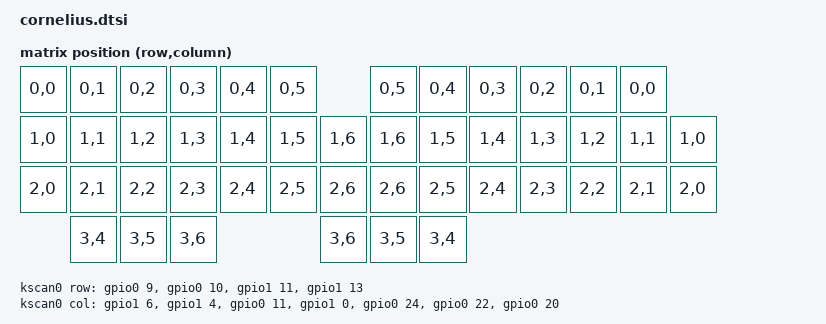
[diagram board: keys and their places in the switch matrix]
/*
 * Copyright (c) 2020 The ZMK Contributors
 *
 * SPDX-License-Identifier: MIT
 */

#include <dt-bindings/zmk/matrix_transform.h>

/*
PIN MAPPING EXPLANATION:
The nice!nano uses an nRF52840 with two GPIO ports: P0 and P1.
- P0.XX pins: Use the number directly (e.g., 9 for P0.09)
- P1.XX pins: Use 32 + the port number (e.g., 32 + 11 = 43 for P1.11)

Your pin assignments:
Rows:    P0.09(9), P0.10(10), P1.11(43), P1.13(45)
Columns: P1.06(38), P1.04(36), P0.11(11), P1.00(32), P0.24(24), P0.22(22), P0.20(20)
*/

/ {
	chosen {
		zmk,kscan = &kscan0;
		zmk,matrix_transform = &default_transform;
		zmk,split = &split;
	};

	split: split {
		compatible = "zmk,split-bt";
		label = "SPLIT";
	};

	default_transform: keymap_transform_0 {
		compatible = "zmk,matrix-transform";
		columns = <7>;
		rows = <4>;
		map = <
/* ╔════════════════════════╦════════════════════════╗
   ║ LEFT SIDE              ║ RIGHT SIDE             ║
   ║ Row 0 (top):           ║ Row 0 (top):           ║
   ║ 0   1   2   3   4   5  ║ 35  36  37  38  39  40 ║
   ║                        ║                        ║
   ║ Row 1 (home):          ║ Row 1 (home):          ║
   ║ 6   7   8   9   10  11 12║ 13  14  15  16  17  18 19║
   ║                        ║                        ║
   ║ Row 2 (bottom):        ║ Row 2 (bottom):        ║
   ║ 20  21  22  23  24  25 26║ 27  28  29  30  31  32 33║
   ║                        ║                        ║
   ║ Row 3 (thumb):         ║ Row 3 (thumb):         ║
   ║         10  11  12     ║ 13  14  15             ║
   ╚════════════════════════╩════════════════════════╝

   EXPLANATION OF KEYCODES:
   - Left side keys 0-34 (but we only use up to 26 as the aux column is at position 12)
   - Right side keys 35-52 (mirrored layout)
   
   Note: Row 3 (thumbs) uses keys from rows 1 and 2 positions (10, 11, 12 on left / 13, 14, 15 on right)
   This is called "matrix reuse" - the same physical keys serve double-duty in the transform
*/

/* Physical Layout (what you see):
   LEFT HALF:
   Row 0:  C1  C2  C3  C4  C5  C6
   Row 1:  C1  C2  C3  C4  C5  C6  AUX
   Row 2:  C1  C2  C3  C4  C5  C6  AUX
   Row 3:          C5  C6  AUX
   
   RIGHT HALF:
   Row 0:  C1  C2  C3  C4  C5  C6
   Row 1:  AUX C6  C5  C4  C3  C2  C1
   Row 2:  AUX C6  C5  C4  C3  C2  C1
   Row 3:  AUX C6  C5
*/

			RC(0,0) RC(0,1) RC(0,2) RC(0,3) RC(0,4) RC(0,5)                 RC(0,5) RC(0,4) RC(0,3) RC(0,2) RC(0,1) RC(0,0)
			RC(1,0) RC(1,1) RC(1,2) RC(1,3) RC(1,4) RC(1,5) RC(1,6)     RC(1,6) RC(1,5) RC(1,4) RC(1,3) RC(1,2) RC(1,1) RC(1,0)
			RC(2,0) RC(2,1) RC(2,2) RC(2,3) RC(2,4) RC(2,5) RC(2,6)     RC(2,6) RC(2,5) RC(2,4) RC(2,3) RC(2,2) RC(2,1) RC(2,0)
					RC(3,4) RC(3,5) RC(3,6)                 RC(3,6) RC(3,5) RC(3,4)
		>;
	};

	kscan0: kscan {
		compatible = "zmk,kscan-gpio-matrix";
		label = "KSCAN";
		/* 
		WHAT THIS DOES:
		- Defines how ZMK scans the keyboard matrix (which pins are rows/cols)
		- GPIO matrix scanning: outputs to row pins, reads from column pins
		- debounce-press/release: filtering for key bouncing (in milliseconds)
		- debounce-type: "eager" = respond immediately to key press
		*/

		diode-direction = "col2row";
		/* 
		DIODE EXPLANATION:
		- "col2row" means your matrix has diodes pointing FROM rows TO columns
		- This is the standard configuration for preventing ghosting
		- The diode blocks reverse current, ensuring accurate multi-key detection
		*/

		row-gpios
			= <&gpio0 9 (GPIO_ACTIVE_HIGH | GPIO_PULL_DOWN)>   /* P0.09 - top row */
			, <&gpio0 10 (GPIO_ACTIVE_HIGH | GPIO_PULL_DOWN)>  /* P0.10 - home row */
			, <&gpio1 11 (GPIO_ACTIVE_HIGH | GPIO_PULL_DOWN)>  /* P1.11 - bottom row */
			, <&gpio1 13 (GPIO_ACTIVE_HIGH | GPIO_PULL_DOWN)>  /* P1.13 - thumb row */
			;

		col-gpios
			= <&gpio1 6 (GPIO_ACTIVE_HIGH | GPIO_PULL_DOWN)>   /* P1.06 - outer column */
			, <&gpio1 4 (GPIO_ACTIVE_HIGH | GPIO_PULL_DOWN)>   /* P1.04 - pinkie column */
			, <&gpio0 11 (GPIO_ACTIVE_HIGH | GPIO_PULL_DOWN)>  /* P0.11 - ring column */
			, <&gpio1 0 (GPIO_ACTIVE_HIGH | GPIO_PULL_DOWN)>   /* P1.00 - middle column */
			, <&gpio0 24 (GPIO_ACTIVE_HIGH | GPIO_PULL_DOWN)>  /* P0.24 - index column */
			, <&gpio0 22 (GPIO_ACTIVE_HIGH | GPIO_PULL_DOWN)>  /* P0.22 - inner column */
			, <&gpio0 20 (GPIO_ACTIVE_HIGH | GPIO_PULL_DOWN)>  /* P0.20 - aux column */
			;
	};
};
